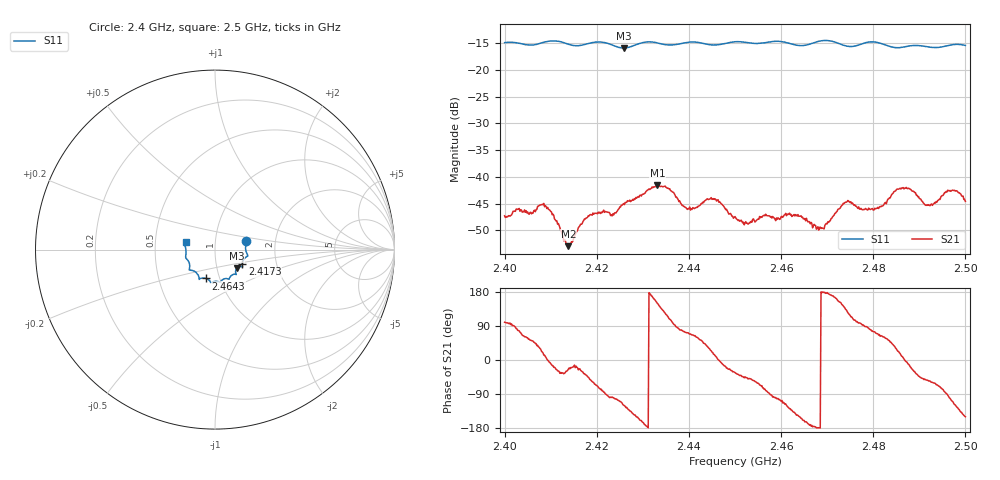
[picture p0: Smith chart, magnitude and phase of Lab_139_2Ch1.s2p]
# Hz S RI R 50
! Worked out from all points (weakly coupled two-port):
!   601 points, 2.4 GHz to 2.5 GHz, reference 50 ohm
!   highest |S21| = -41.57 dB at 2.4332 GHz (marker M1); lowest = -52.9 dB at 2.4138 GHz (marker M2)
!   lowest |S11| = -15.9 dB at 2.4258 GHz (marker M3), VSWR 1.38, Z = 62.3 - j13.2 ohm
!   |S11| at or under -10 dB: start of sweep to end of sweep
!   S12 and S22 are empty: the file has one direction only
!   S11 on the Smith chart (normalised r, x): 2.4 GHz: 1.41, +0.14; 2.4173 GHz: 1.34, -0.23; 2.4643 GHz: 0.86, -0.29; 2.5 GHz: 0.72, +0.06
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2.4e9  0.1727 0.0488  -0.000724 0.00427  0 0  0 0
2.4085e9  0.1789 -0.0247  0.00551 0.00127  0 0  0 0
2.413833e9  0.1676 -0.0457  0.00206 -0.000921  0 0  0 0
2.416667e9  0.1528 -0.0743  0.00315 -0.00177  0 0  0 0
2.417333e9  0.1518 -0.0817  0.00328 -0.00238  0 0  0 0
2.4235e9  0.1415 -0.094  -0.00073 -0.00446  0 0  0 0
2.425833e9  0.122 -0.1034  -0.00273 -0.00493  0 0  0 0
2.433167e9  0.1139 -0.1373  -0.00716 0.00429  0 0  0 0
2.433333e9  0.1129 -0.1372  -0.00692 0.00441  0 0  0 0
2.44e9  0.0792 -0.1633  0.00177 0.00472  0 0  0 0
2.445833e9  0.0489 -0.1641  0.00607 0.00101  0 0  0 0
2.45e9  0.0289 -0.1808  0.00357 -0.00233  0 0  0 0
2.464333e9  -0.0497 -0.1609  -0.00389 -0.0019  0 0  0 0
2.466667e9  -0.0757 -0.1593  -0.00366 -0.000486  0 0  0 0
2.469167e9  -0.0882 -0.166  -0.0033 4.53e-05  0 0  0 0
2.474333e9  -0.1001 -0.1328  -0.00364 0.0046  0 0  0 0
2.479667e9  -0.1433 -0.1136  0.00117 0.00488  0 0  0 0
2.483333e9  -0.1408 -0.09  0.00384 0.0049  0 0  0 0
2.486667e9  -0.1529 -0.0582  0.00771 0.000462  0 0  0 0
2.491833e9  -0.1621 -0.027  0.00323 -0.00436  0 0  0 0
2.496667e9  -0.1684 0.0249  -0.00146 -0.00733  0 0  0 0
2.5e9  -0.1637 0.0428  -0.00511 -0.00298  0 0  0 0
